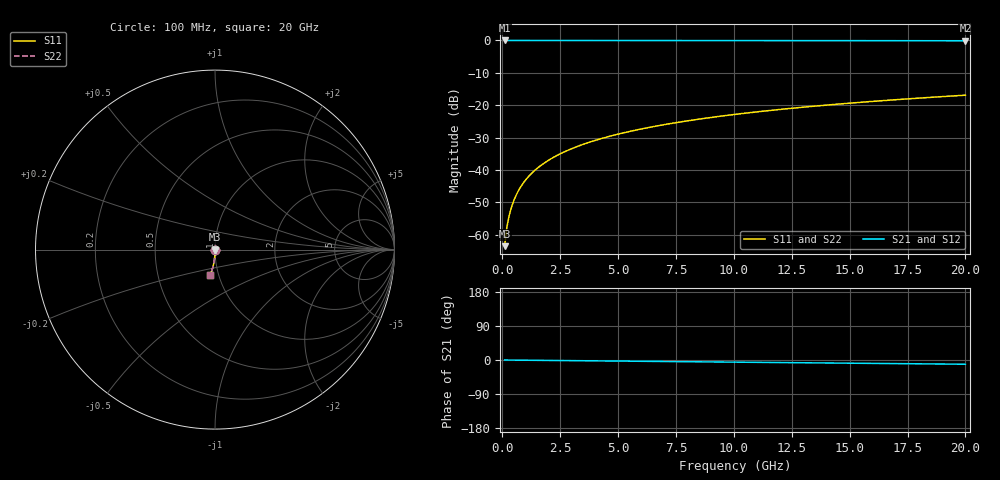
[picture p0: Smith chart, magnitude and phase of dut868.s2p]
! Touchstone file exported from HFSS 2026.1.0
!  File:  C:/ffzhzh/LocalFiles/Ansys_Project_Files/temp_train_TSV_868_1783185453_18472.aedt
!  Generated:  01:18:52 AM Jul  5, 2026
!  Design:  TSV
!  Project:  temp_train_TSV_868_1783185453_18472
! Variables:
!  h_bsmrdl = 2um
!  h_ox = 20um
!  h_rdl = 5um
!  h_sub = 82.15um
!  h_tmrdl = 5um
!  h_tsv = 82.15um
!  h_via = 3um
!  l_bsmrdl = 300um
!  l_sub = 425.14um
!  l_tmrdl = 200um
!  m_sub = 200um
!  pitch = 28.44um
!  r_tsv = 12.57um
!  s_tmrdl = 10um
!  w_bsmrdl = 18um
!  w_sub = 500um
!  w_tmrdl = 12um
!  x_tsv_center1 = 206um
!  x_tsv_center2 = 524um
!  x_tsv_center3 = 736um
!  x_tsv_center4 = 1054um
!  x_tsv_center5 = 1266um
!  x_tsv_center6 = 1584um
# GHz S MA R 50.000000
! Terminal data exported
! Port[1] = TSV1_1_T1
! Port[2] = TSV1_1_T2
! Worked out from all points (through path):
!   200 points, 100 MHz to 20 GHz, reference 50 ohm
!   highest |S21| = 0.00 dB at 100 MHz (marker M1); lowest = -0.1 dB at 20 GHz (marker M2)
!   group delay of S21, straight-line fit = 1.55 ps
!   lowest |S11| = -63.5 dB at 100 MHz (marker M3), VSWR 1.00, Z = 50 - j0.0655 ohm
!   |S11| at or under -10 dB: start of sweep to end of sweep
!   |S22| runs from -63.5 to -16.9 dB; largest |S21 - S12| = 3.2e-15
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0.1  0.0006647 -80.2  0.9999 -0.1  0.9999 -0.1  0.0006647 -80.2
! Gamma 0 0 0 0
! Port Impedance 50 0 50 0
0.2  0.001324 -84.2  0.9999 -0.1  0.9999 -0.1  0.001324 -84.2
0.3  0.001998 -85.2  0.9998 -0.2  0.9998 -0.2  0.001998 -85.2
0.4  0.002685 -85.7  0.9998 -0.2  0.9998 -0.2  0.002685 -85.7
0.5  0.003383 -86.1  0.9997 -0.3  0.9997 -0.3  0.003383 -86.1
0.7  0.004801 -86.6  0.9997 -0.4  0.9997 -0.4  0.004801 -86.6
0.8  0.005516 -86.9  0.9996 -0.5  0.9996 -0.5  0.005516 -86.9
1  0.006952 -87.4  0.9996 -0.6  0.9996 -0.6  0.006952 -87.4
1.2  0.008389 -87.8  0.9995 -0.7  0.9995 -0.7  0.008389 -87.8
1.4  0.009828 -88.2  0.9995 -0.8  0.9995 -0.8  0.009828 -88.2
1.7  0.01198 -88.6  0.9994 -1.0  0.9994 -1.0  0.01198 -88.6
2  0.01414 -89.0  0.9994 -1.1  0.9994 -1.1  0.01414 -89.0
2.7  0.01917 -89.8  0.9992 -1.5  0.9992 -1.5  0.01917 -89.8
3.5  0.02492 -90.4  0.999 -2.0  0.999 -2.0  0.02492 -90.4
4.2  0.02996 -91.0  0.9988 -2.4  0.9988 -2.4  0.02996 -91.0
5  0.03572 -91.5  0.9985 -2.8  0.9985 -2.8  0.03572 -91.5
6.8  0.0487 -92.7  0.9978 -3.8  0.9978 -3.8  0.0487 -92.7
8.3  0.05952 -93.6  0.9971 -4.7  0.9971 -4.7  0.05952 -93.6
10.1  0.07247 -94.7  0.9962 -5.7  0.9962 -5.7  0.07247 -94.7
13.4  0.0961 -96.7  0.994 -7.5  0.994 -7.5  0.0961 -96.7
16.7  0.1195 -98.6  0.9912 -9.4  0.9912 -9.4  0.1195 -98.6
20  0.1428 -100.5  0.988 -11.2  0.988 -11.2  0.1428 -100.5
